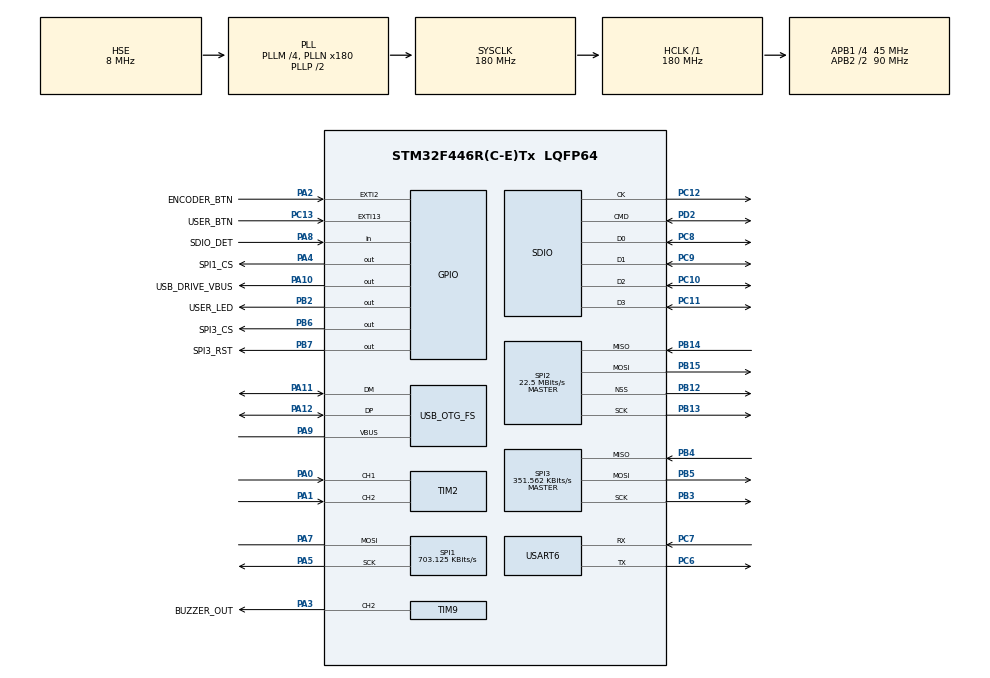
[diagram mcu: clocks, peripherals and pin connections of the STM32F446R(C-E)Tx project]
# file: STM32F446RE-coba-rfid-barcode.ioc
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ADC1.Channel-0\#ChannelRegularConversion=ADC_CHANNEL_TEMPSENSOR
ADC1.NbrOfConversionFlag=1
ADC1.Rank-0\#ChannelRegularConversion=1
ADC1.SamplingTime-0\#ChannelRegularConversion=ADC_SAMPLETIME_3CYCLES
ADC1.master=1
Dma.Request0=SPI1_RX
Dma.Request1=SPI1_TX
Dma.SPI1_RX.0.Direction=DMA_PERIPH_TO_MEMORY
Dma.SPI1_RX.0.FIFOMode=DMA_FIFOMODE_DISABLE
Dma.SPI1_RX.0.Instance=DMA2_Stream0
Dma.SPI1_RX.0.MemDataAlignment=DMA_MDATAALIGN_BYTE
Dma.SPI1_RX.0.MemInc=DMA_MINC_ENABLE
Dma.SPI1_RX.0.Mode=DMA_NORMAL
Dma.SPI1_RX.0.PeriphDataAlignment=DMA_PDATAALIGN_BYTE
Dma.SPI1_RX.0.PeriphInc=DMA_PINC_DISABLE
Dma.SPI1_RX.0.Priority=DMA_PRIORITY_LOW
Dma.SPI1_TX.1.Direction=DMA_MEMORY_TO_PERIPH
Dma.SPI1_TX.1.FIFOMode=DMA_FIFOMODE_DISABLE
Dma.SPI1_TX.1.Instance=DMA2_Stream3
Dma.SPI1_TX.1.MemDataAlignment=DMA_MDATAALIGN_BYTE
Dma.SPI1_TX.1.MemInc=DMA_MINC_ENABLE
Dma.SPI1_TX.1.Mode=DMA_NORMAL
Dma.SPI1_TX.1.PeriphDataAlignment=DMA_PDATAALIGN_BYTE
Dma.SPI1_TX.1.PeriphInc=DMA_PINC_DISABLE
Dma.SPI1_TX.1.Priority=DMA_PRIORITY_LOW
FATFS.BSP.number=1
FATFS0.BSP.STBoard=false
FATFS0.BSP.api=Unknown
FATFS0.BSP.instance=PA8
FATFS0.BSP.ip=GPIO
FATFS0.BSP.mode=Input
FATFS0.BSP.name=Detect_SDIO
FATFS0.BSP.solution=PA8
Mcu.Family=STM32F4
Mcu.Name=STM32F446R(C-E)Tx
Mcu.Package=LQFP64
NVIC.DMA2_Stream0_IRQn=true\:0\:0\:false\:false\:true\:false\:true\:true
NVIC.DMA2_Stream3_IRQn=true\:0\:0\:false\:false\:true\:false\:true\:true
NVIC.OTG_FS_IRQn=true\:0\:0\:false\:false\:true\:false\:true\:true
NVIC.PriorityGroup=NVIC_PRIORITYGROUP_4
NVIC.SDIO_IRQn=true\:0\:0\:false\:false\:true\:true\:true\:true
NVIC.SPI1_IRQn=true\:0\:0\:false\:false\:true\:true\:true\:true
PA0-WKUP.Signal=S_TIM2_CH1_ETR
PA1.Signal=S_TIM2_CH2
PA10.GPIO_Label=USB_DRIVE_VBUS
PA10.Signal=GPIO_Output
PA11.Mode=Host_Only
PA11.Signal=USB_OTG_FS_DM
PA12.Mode=Host_Only
PA12.Signal=USB_OTG_FS_DP
PA2.GPIO_Label=ENCODER_BTN
PA2.GPIO_PuPd=GPIO_PULLDOWN
PA2.Signal=GPXTI2
PA3.GPIO_Label=BUZZER_OUT
PA3.Signal=S_TIM9_CH2
PA4.GPIO_Label=SPI1_CS
PA4.Signal=GPIO_Output
PA5.Mode=Simplex_Bidirectional_Master
PA5.Signal=SPI1_SCK
PA7.Mode=Simplex_Bidirectional_Master
PA7.Signal=SPI1_MOSI
PA8.GPIO_Label=SDIO_DET
PA8.GPIO_PuPd=GPIO_PULLUP
PA8.Signal=GPIO_Input
PA9.Mode=Activate_VBUS
PA9.Signal=USB_OTG_FS_VBUS
PB12.Mode=NSS_Signal_Hard_Output
PB12.Signal=SPI2_NSS
PB13.Mode=Full_Duplex_Master
PB13.Signal=SPI2_SCK
PB14.Mode=Full_Duplex_Master
PB14.Signal=SPI2_MISO
PB15.Mode=Full_Duplex_Master
PB15.Signal=SPI2_MOSI
PB2.GPIO_Label=USER_LED
PB2.Signal=GPIO_Output
PB3.Mode=Full_Duplex_Master
PB3.Signal=SPI3_SCK
PB4.Mode=Full_Duplex_Master
PB4.Signal=SPI3_MISO
PB5.Mode=Full_Duplex_Master
PB5.Signal=SPI3_MOSI
PB6.GPIO_Label=SPI3_CS
PB6.Signal=GPIO_Output
PB7.GPIO_Label=SPI3_RST
PB7.Signal=GPIO_Output
PC10.GPIO_PuPd=GPIO_PULLUP
PC10.Mode=SD_4_bits_Wide_bus
PC10.Signal=SDIO_D2
PC11.GPIO_PuPd=GPIO_PULLUP
PC11.Mode=SD_4_bits_Wide_bus
PC11.Signal=SDIO_D3
PC12.GPIO_PuPd=GPIO_PULLUP
PC12.Mode=SD_4_bits_Wide_bus
PC12.Signal=SDIO_CK
PC13.GPIO_Label=USER_BTN
PC13.GPIO_PuPd=GPIO_PULLDOWN
PC13.Signal=GPXTI13
PC14-OSC32_IN.Mode=LSE-External-Oscillator
PC14-OSC32_IN.Signal=RCC_OSC32_IN
PC15-OSC32_OUT.Mode=LSE-External-Oscillator
PC15-OSC32_OUT.Signal=RCC_OSC32_OUT
PC6.Mode=Asynchronous
PC6.Signal=USART6_TX
PC7.Mode=Asynchronous
PC7.Signal=USART6_RX
PC8.GPIO_PuPd=GPIO_PULLUP
PC8.Mode=SD_4_bits_Wide_bus
PC8.Signal=SDIO_D0
PC9.GPIO_PuPd=GPIO_PULLUP
PC9.Mode=SD_4_bits_Wide_bus
PC9.Signal=SDIO_D1
PD2.GPIO_PuPd=GPIO_PULLUP
PD2.Mode=SD_4_bits_Wide_bus
PD2.Signal=SDIO_CMD
PH0-OSC_IN.Mode=HSE-External-Oscillator
PH0-OSC_IN.Signal=RCC_OSC_IN
PH1-OSC_OUT.Mode=HSE-External-Oscillator
PH1-OSC_OUT.Signal=RCC_OSC_OUT
ProjectManager.HeapSize=0x200
ProjectManager.StackSize=0x400
ProjectManager.TargetToolchain=STM32CubeIDE
RCC.AHBFreq_Value=180000000
RCC.APB1CLKDivider=RCC_HCLK_DIV4
RCC.APB1Freq_Value=45000000
RCC.APB1TimFreq_Value=90000000
RCC.APB2CLKDivider=RCC_HCLK_DIV2
RCC.APB2Freq_Value=90000000
RCC.APB2TimFreq_Value=180000000
RCC.CortexFreq_Value=180000000
RCC.HCLKFreq_Value=180000000
RCC.HSE_VALUE=8000000
RCC.PLLM=4
RCC.PLLN=180
RCC.PLLSAIM=4
RCC.PLLSAIN=96
RCC.PLLSAIP=RCC_PLLSAIP_DIV4
RCC.SYSCLKFreq_VALUE=180000000
RCC.SYSCLKSource=RCC_SYSCLKSOURCE_PLLCLK
RCC.USBCLockSelection=RCC_CLK48CLKSOURCE_PLLSAIP
RCC.USBFreq_Value=48000000
RCC.VCOOutputFreq_Value=360000000
SDIO.ClockDiv=8
SH.S_TIM2_CH1_ETR.0=TIM2_CH1,Encoder_Interface
SH.S_TIM2_CH2.0=TIM2_CH2,Encoder_Interface
SH.S_TIM9_CH2.0=TIM9_CH2,PWM Generation2 CH2
SPI1.BaudRatePrescaler=SPI_BAUDRATEPRESCALER_128
SPI1.CLKPhase=SPI_PHASE_2EDGE
SPI1.CLKPolarity=SPI_POLARITY_HIGH
SPI1.CalculateBaudRate=703.125 KBits/s
SPI1.Direction=SPI_DIRECTION_1LINE
SPI1.FirstBit=SPI_FIRSTBIT_LSB
SPI1.Mode=SPI_MODE_MASTER
SPI1.VirtualType=VM_MASTER
SPI2.BaudRatePrescaler=SPI_BAUDRATEPRESCALER_2
SPI2.CalculateBaudRate=22.5 MBits/s
SPI2.Direction=SPI_DIRECTION_2LINES
SPI2.Mode=SPI_MODE_MASTER
SPI2.VirtualNSS=VM_NSSHARD
SPI2.VirtualType=VM_MASTER
SPI3.BaudRatePrescaler=SPI_BAUDRATEPRESCALER_128
SPI3.CalculateBaudRate=351.562 KBits/s
SPI3.Direction=SPI_DIRECTION_2LINES
SPI3.Mode=SPI_MODE_MASTER
SPI3.VirtualType=VM_MASTER
TIM5.Channel-PWM\ Generation1\ CH1=TIM_CHANNEL_1
TIM9.Channel-PWM\ Generation2\ CH2=TIM_CHANNEL_2
USART6.VirtualMode=VM_ASYNC
USB_HOST.BSP.number=1
USB_HOST.USBH_HandleTypeDef-HID_FS=hUsbHostFS
USB_HOST.VirtualModeFS=Hid
USB_HOST0.BSP.STBoard=false
USB_HOST0.BSP.api=Unknown
USB_HOST0.BSP.condition=SW_VBUS_DRIVE_HID_FS \= false
USB_HOST0.BSP.instance=PA10
USB_HOST0.BSP.ip=GPIO
USB_HOST0.BSP.mode=Output
USB_HOST0.BSP.name=Drive_VBUS_FS
USB_HOST0.BSP.solution=PA10
USB_OTG_FS.VirtualMode=Host_Only
USB_OTG_FS.phy_itface=HCD_PHY_EMBEDDED
VP_ADC1_TempSens_Input.Mode=IN-TempSens
VP_FATFS_VS_SDIO.Mode=SDIO
VP_RTC_VS_RTC_Activate.Mode=RTC_Enabled
VP_RTC_VS_RTC_Calendar.Mode=RTC_Calendar
VP_TIM5_VS_ClockSourceINT.Mode=Internal
VP_TIM9_VS_ClockSourceINT.Mode=Internal
VP_USB_HOST_VS_USB_HOST_HID_FS.Mode=HID_FS
board=custom

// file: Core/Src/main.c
/* USER CODE BEGIN Header */
/**
 ******************************************************************************
 * @file           : main.c
 * @brief          : Main program body
 ******************************************************************************
 * @attention
 *
 * Copyright (c) 2026 STMicroelectronics.
 * All rights reserved.
 *
 * This software is licensed under terms that can be found in the LICENSE file
 * in the root directory of this software component.
 * If no LICENSE file comes with this software, it is provided AS-IS.
 *
 ******************************************************************************
 */
/* USER CODE END Header */
#include "main.h"
#include "fatfs.h"
#include "usb_host.h"

/* USER CODE BEGIN Includes */
#include "rc522.h"
#include "tm1638.h"
#include <stdbool.h>
#include <stdio.h>
#include <string.h>

/* USER CODE END Includes */

ADC_HandleTypeDef hadc1;

RTC_HandleTypeDef hrtc;

SD_HandleTypeDef hsd;

SPI_HandleTypeDef hspi1;
SPI_HandleTypeDef hspi2;
SPI_HandleTypeDef hspi3;
DMA_HandleTypeDef hdma_spi1_rx;
DMA_HandleTypeDef hdma_spi1_tx;

TIM_HandleTypeDef htim2;
TIM_HandleTypeDef htim5;
TIM_HandleTypeDef htim9;

UART_HandleTypeDef huart6;

/* USER CODE BEGIN PV */
uint8_t rfid_id[5];
bool sd_detect_state = 0;
uint32_t rfid_read_count = 0;
uint32_t sd_write_success_count = 0;
uint32_t sd_write_error_count = 0;
FRESULT sd_fresult;
/* USER CODE END PV */

void SystemClock_Config(void);
void PeriphCommonClock_Config(void);
static void MX_GPIO_Init(void);
static void MX_DMA_Init(void);
static void MX_SPI1_Init(void);
static void MX_SPI2_Init(void);
static void MX_SPI3_Init(void);
static void MX_SDIO_SD_Init(void);
static void MX_TIM2_Init(void);
static void MX_ADC1_Init(void);
static void MX_RTC_Init(void);
static void MX_TIM5_Init(void);
static void MX_TIM9_Init(void);
static void MX_USART6_UART_Init(void);
void MX_USB_HOST_Process(void);

int main(void)
{

  /* MCU Configuration--------------------------------------------------------*/

  /* Reset of all peripherals, Initializes the Flash interface and the Systick. */
  HAL_Init();

  /* Configure the system clock */
  SystemClock_Config();

  /* Configure the peripherals common clocks */
  PeriphCommonClock_Config();

  /* Initialize all configured peripherals */
  MX_GPIO_Init();
  MX_DMA_Init();
  MX_SPI1_Init();
  MX_SPI2_Init();
  MX_SPI3_Init();
  MX_SDIO_SD_Init();
  MX_TIM2_Init();
  MX_FATFS_Init();
  MX_USB_HOST_Init();
  MX_ADC1_Init();
  MX_RTC_Init();
  MX_TIM5_Init();
  MX_TIM9_Init();
  MX_USART6_UART_Init();
  /* USER CODE BEGIN 2 */
  RC522_Init(&hspi3);
  TM1638_Init();
  /* USER CODE END 2 */

  /* Infinite loop */
  while (1) {
    MX_USB_HOST_Process();

    /* USER CODE BEGIN 3 */

    // Baca tombol TM1638
    uint8_t btn = TM1638_ReadButtons();
    if (btn == 1) { // Tombol 1 ditekan
        TM1638_Clear(); // Bersihkan layar
    }

    sd_detect_state = HAL_GPIO_ReadPin(SD_DETECT_GPIO_PORT, SD_DETECT_PIN);

    if (RC522_Check(rfid_id) == MI_OK) {
      rfid_read_count++;

      // Tampilkan UID ke 7-segment TM1638 menggunakan string
      char uid_str[9];
      snprintf(uid_str, sizeof(uid_str), "%02X%02X%02X%02X", rfid_id[0], rfid_id[1], rfid_id[2], rfid_id[3]);
      TM1638_DisplayString(uid_str);

      // Dapatkan waktu dan tanggal saat ini dari RTC
      RTC_TimeTypeDef sTime = {0};
      RTC_DateTypeDef sDate = {0};
      HAL_RTC_GetTime(&hrtc, &sTime, RTC_FORMAT_BIN);
      HAL_RTC_GetDate(&hrtc, &sDate, RTC_FORMAT_BIN);

      // Format data menjadi string CSV: "Tanggal Waktu,UID"
      char csv_buffer[100];
      int len = snprintf(
          csv_buffer, sizeof(csv_buffer),
          "20%02d-%02d-%02d %02d:%02d:%02d,%02X%02X%02X%02X%02X\n", sDate.Year,
          sDate.Month, sDate.Date, sTime.Hours, sTime.Minutes, sTime.Seconds,
          rfid_id[0], rfid_id[1], rfid_id[2], rfid_id[3], rfid_id[4]);

      // Proses penulisan ke SD Card
      sd_fresult = f_mount(&SDFatFS, SDPath, 1);
      if (sd_fresult == FR_OK) {
        // Buka file CSV dengan mode append
        sd_fresult = f_open(&SDFile, "rfid_log.csv", FA_OPEN_APPEND | FA_WRITE);
        if (sd_fresult == FR_OK) {
          UINT byteswritten;
          // Tulis header jika ini merupakan penulisan pertama/file baru
          if (f_size(&SDFile) == 0) {
            const char *header = "Datetime,UID\n";
            f_write(&SDFile, header, strlen(header), &byteswritten);
          }

          sd_fresult = f_write(&SDFile, csv_buffer, len, &byteswritten);
          if (sd_fresult == FR_OK && byteswritten == len) {
            sd_write_success_count++;
          } else {
            sd_write_error_count++;
          }
          f_close(&SDFile);
        } else {
          sd_write_error_count++;
        }
        f_mount(NULL, SDPath, 0); // Unmount agar data aman
      } else {
        sd_write_error_count++;
      }

      HAL_Delay(1000); // delay to avoid multiple reads
    }
  }
  /* USER CODE END 3 */
}

void SystemClock_Config(void)
{
  RCC_OscInitTypeDef RCC_OscInitStruct = {0};
  RCC_ClkInitTypeDef RCC_ClkInitStruct = {0};

  /** Configure the main internal regulator output voltage
  */
  __HAL_RCC_PWR_CLK_ENABLE();
  __HAL_PWR_VOLTAGESCALING_CONFIG(PWR_REGULATOR_VOLTAGE_SCALE1);

  /** Initializes the RCC Oscillators according to the specified parameters
  * in the RCC_OscInitTypeDef structure.
  */
  RCC_OscInitStruct.OscillatorType = RCC_OSCILLATORTYPE_LSI|RCC_OSCILLATORTYPE_HSE;
  RCC_OscInitStruct.HSEState = RCC_HSE_ON;
  RCC_OscInitStruct.LSEState = RCC_LSE_ON;
  RCC_OscInitStruct.LSIState = RCC_LSI_ON;
  RCC_OscInitStruct.PLL.PLLState = RCC_PLL_ON;
  RCC_OscInitStruct.PLL.PLLSource = RCC_PLLSOURCE_HSE;
  RCC_OscInitStruct.PLL.PLLM = 4;
  RCC_OscInitStruct.PLL.PLLN = 180;
  RCC_OscInitStruct.PLL.PLLP = RCC_PLLP_DIV2;
  RCC_OscInitStruct.PLL.PLLQ = 2;
  RCC_OscInitStruct.PLL.PLLR = 2;
  if (HAL_RCC_OscConfig(&RCC_OscInitStruct) != HAL_OK)
  {
    Error_Handler();
  }

  /** Activate the Over-Drive mode
  */
  if (HAL_PWREx_EnableOverDrive() != HAL_OK)
  {
    Error_Handler();
  }

  /** Initializes the CPU, AHB and APB buses clocks
  */
  RCC_ClkInitStruct.ClockType = RCC_CLOCKTYPE_HCLK|RCC_CLOCKTYPE_SYSCLK
                              |RCC_CLOCKTYPE_PCLK1|RCC_CLOCKTYPE_PCLK2;
  RCC_ClkInitStruct.SYSCLKSource = RCC_SYSCLKSOURCE_PLLCLK;
  RCC_ClkInitStruct.AHBCLKDivider = RCC_SYSCLK_DIV1;
  RCC_ClkInitStruct.APB1CLKDivider = RCC_HCLK_DIV4;
  RCC_ClkInitStruct.APB2CLKDivider = RCC_HCLK_DIV2;

  if (HAL_RCC_ClockConfig(&RCC_ClkInitStruct, FLASH_LATENCY_5) != HAL_OK)
  {
    Error_Handler();
  }
}

void PeriphCommonClock_Config(void)
{
  RCC_PeriphCLKInitTypeDef PeriphClkInitStruct = {0};

  /** Initializes the peripherals clock
  */
  PeriphClkInitStruct.PeriphClockSelection = RCC_PERIPHCLK_SDIO|RCC_PERIPHCLK_CLK48;
  PeriphClkInitStruct.PLLSAI.PLLSAIM = 4;
  PeriphClkInitStruct.PLLSAI.PLLSAIN = 96;
  PeriphClkInitStruct.PLLSAI.PLLSAIQ = 2;
  PeriphClkInitStruct.PLLSAI.PLLSAIP = RCC_PLLSAIP_DIV4;
  PeriphClkInitStruct.PLLSAIDivQ = 1;
  PeriphClkInitStruct.Clk48ClockSelection = RCC_CLK48CLKSOURCE_PLLSAIP;
  PeriphClkInitStruct.SdioClockSelection = RCC_SDIOCLKSOURCE_CLK48;
  if (HAL_RCCEx_PeriphCLKConfig(&PeriphClkInitStruct) != HAL_OK)
  {
    Error_Handler();
  }
}

static void MX_ADC1_Init(void)
{

  ADC_ChannelConfTypeDef sConfig = {0};

  /** Configure the global features of the ADC (Clock, Resolution, Data Alignment and number of conversion)
  */
  hadc1.Instance = ADC1;
  hadc1.Init.ClockPrescaler = ADC_CLOCK_SYNC_PCLK_DIV4;
  hadc1.Init.Resolution = ADC_RESOLUTION_12B;
  hadc1.Init.ScanConvMode = DISABLE;
  hadc1.Init.ContinuousConvMode = DISABLE;
  hadc1.Init.DiscontinuousConvMode = DISABLE;
  hadc1.Init.ExternalTrigConvEdge = ADC_EXTERNALTRIGCONVEDGE_NONE;
  hadc1.Init.ExternalTrigConv = ADC_SOFTWARE_START;
  hadc1.Init.DataAlign = ADC_DATAALIGN_RIGHT;
  hadc1.Init.NbrOfConversion = 1;
  hadc1.Init.DMAContinuousRequests = DISABLE;
  hadc1.Init.EOCSelection = ADC_EOC_SINGLE_CONV;
  if (HAL_ADC_Init(&hadc1) != HAL_OK)
  {
    Error_Handler();
  }

  /** Configure for the selected ADC regular channel its corresponding rank in the sequencer and its sample time.
  */
  sConfig.Channel = ADC_CHANNEL_TEMPSENSOR;
  sConfig.Rank = 1;
  sConfig.SamplingTime = ADC_SAMPLETIME_3CYCLES;
  if (HAL_ADC_ConfigChannel(&hadc1, &sConfig) != HAL_OK)
  {
    Error_Handler();
  }

}

static void MX_RTC_Init(void)
{

  RTC_TimeTypeDef sTime = {0};
  RTC_DateTypeDef sDate = {0};

  /** Initialize RTC Only
  */
  hrtc.Instance = RTC;
  hrtc.Init.HourFormat = RTC_HOURFORMAT_24;
  hrtc.Init.AsynchPrediv = 127;
  hrtc.Init.SynchPrediv = 255;
  hrtc.Init.OutPut = RTC_OUTPUT_DISABLE;
  hrtc.Init.OutPutPolarity = RTC_OUTPUT_POLARITY_HIGH;
  hrtc.Init.OutPutType = RTC_OUTPUT_TYPE_OPENDRAIN;
  if (HAL_RTC_Init(&hrtc) != HAL_OK)
  {
    Error_Handler();
  }

  /* USER CODE BEGIN Check_RTC_BKUP */
  if (HAL_RTCEx_BKUPRead(&hrtc, RTC_BKP_DR1) == 0x32F2) {
    return; // Waktu sudah pernah di-set, pertahankan waktu RTC yang sedang
            // berjalan
  }

  // Parsing __TIME__ "HH:MM:SS" (Waktu Compile)
  char time_str[] = __TIME__;
  sTime.Hours = (time_str[0] - '0') * 10 + (time_str[1] - '0');
  sTime.Minutes = (time_str[3] - '0') * 10 + (time_str[4] - '0');
  sTime.Seconds = (time_str[6] - '0') * 10 + (time_str[7] - '0');
  sTime.DayLightSaving = RTC_DAYLIGHTSAVING_NONE;
  sTime.StoreOperation = RTC_STOREOPERATION_RESET;

  if (HAL_RTC_SetTime(&hrtc, &sTime, RTC_FORMAT_BIN) != HAL_OK) {
    Error_Handler();
  }

  // Parsing __DATE__ "Mmm dd yyyy" (Tanggal Compile)
  char date_str[] = __DATE__;
  uint8_t month = 1;
  if (strncmp(date_str, "Jan", 3) == 0)
    month = RTC_MONTH_JANUARY;
  else if (strncmp(date_str, "Feb", 3) == 0)
    month = RTC_MONTH_FEBRUARY;
  else if (strncmp(date_str, "Mar", 3) == 0)
    month = RTC_MONTH_MARCH;
  else if (strncmp(date_str, "Apr", 3) == 0)
    month = RTC_MONTH_APRIL;
  else if (strncmp(date_str, "May", 3) == 0)
    month = RTC_MONTH_MAY;
  else if (strncmp(date_str, "Jun", 3) == 0)
    month = RTC_MONTH_JUNE;
  else if (strncmp(date_str, "Jul", 3) == 0)
    month = RTC_MONTH_JULY;
  else if (strncmp(date_str, "Aug", 3) == 0)
    month = RTC_MONTH_AUGUST;
  else if (strncmp(date_str, "Sep", 3) == 0)
    month = RTC_MONTH_SEPTEMBER;
  else if (strncmp(date_str, "Oct", 3) == 0)
    month = RTC_MONTH_OCTOBER;
  else if (strncmp(date_str, "Nov", 3) == 0)
    month = RTC_MONTH_NOVEMBER;
  else if (strncmp(date_str, "Dec", 3) == 0)
    month = RTC_MONTH_DECEMBER;

  uint8_t day = 0;
  if (date_str[4] == ' ') {
    day = date_str[5] - '0';
  } else {
    day = (date_str[4] - '0') * 10 + (date_str[5] - '0');
  }

  // Tahun __DATE__ adalah 4 digit (misal 2026), kita ambil 2 digit terakhir
  // saja (26)
  uint8_t year = (date_str[9] - '0') * 10 + (date_str[10] - '0');

  sDate.WeekDay = RTC_WEEKDAY_MONDAY;
  sDate.Month = month;
  sDate.Date = day;
  sDate.Year = year;

  if (HAL_RTC_SetDate(&hrtc, &sDate, RTC_FORMAT_BIN) != HAL_OK) {
    Error_Handler();
  }

  // Tulis ke backup register untuk menandakan bahwa RTC sudah pernah diset
  HAL_RTCEx_BKUPWrite(&hrtc, RTC_BKP_DR1, 0x32F2);

  // Return di sini agar kode bawaan CubeMX di bawah ini (yang meng-reset ke
  // 00:00:00) tidak dieksekusi
  return;
  /* USER CODE END Check_RTC_BKUP */

  /** Initialize RTC and set the Time and Date
  */
  sTime.Hours = 0x0;
  sTime.Minutes = 0x0;
  sTime.Seconds = 0x0;
  sTime.DayLightSaving = RTC_DAYLIGHTSAVING_NONE;
  sTime.StoreOperation = RTC_STOREOPERATION_RESET;
  if (HAL_RTC_SetTime(&hrtc, &sTime, RTC_FORMAT_BCD) != HAL_OK)
  {
    Error_Handler();
  }
  sDate.WeekDay = RTC_WEEKDAY_MONDAY;
  sDate.Month = RTC_MONTH_JANUARY;
  sDate.Date = 0x1;
  sDate.Year = 0x0;

  if (HAL_RTC_SetDate(&hrtc, &sDate, RTC_FORMAT_BCD) != HAL_OK)
  {
    Error_Handler();
  }

}

static void MX_SDIO_SD_Init(void)
{

  hsd.Instance = SDIO;
  hsd.Init.ClockEdge = SDIO_CLOCK_EDGE_RISING;
  hsd.Init.ClockBypass = SDIO_CLOCK_BYPASS_DISABLE;
  hsd.Init.ClockPowerSave = SDIO_CLOCK_POWER_SAVE_DISABLE;
  hsd.Init.BusWide = SDIO_BUS_WIDE_1B;
  hsd.Init.HardwareFlowControl = SDIO_HARDWARE_FLOW_CONTROL_DISABLE;
  hsd.Init.ClockDiv = 8;

}

static void MX_SPI1_Init(void)
{

  /* SPI1 parameter configuration*/
  hspi1.Instance = SPI1;
  hspi1.Init.Mode = SPI_MODE_MASTER;
  hspi1.Init.Direction = SPI_DIRECTION_1LINE;
  hspi1.Init.DataSize = SPI_DATASIZE_8BIT;
  hspi1.Init.CLKPolarity = SPI_POLARITY_HIGH;
  hspi1.Init.CLKPhase = SPI_PHASE_2EDGE;
  hspi1.Init.NSS = SPI_NSS_SOFT;
  hspi1.Init.BaudRatePrescaler = SPI_BAUDRATEPRESCALER_128;
  hspi1.Init.FirstBit = SPI_FIRSTBIT_LSB;
  hspi1.Init.TIMode = SPI_TIMODE_DISABLE;
  hspi1.Init.CRCCalculation = SPI_CRCCALCULATION_DISABLE;
  hspi1.Init.CRCPolynomial = 10;
  if (HAL_SPI_Init(&hspi1) != HAL_OK)
  {
    Error_Handler();
  }

}

static void MX_SPI2_Init(void)
{

  /* SPI2 parameter configuration*/
  hspi2.Instance = SPI2;
  hspi2.Init.Mode = SPI_MODE_MASTER;
  hspi2.Init.Direction = SPI_DIRECTION_2LINES;
  hspi2.Init.DataSize = SPI_DATASIZE_8BIT;
  hspi2.Init.CLKPolarity = SPI_POLARITY_LOW;
  hspi2.Init.CLKPhase = SPI_PHASE_1EDGE;
  hspi2.Init.NSS = SPI_NSS_HARD_OUTPUT;
  hspi2.Init.BaudRatePrescaler = SPI_BAUDRATEPRESCALER_2;
  hspi2.Init.FirstBit = SPI_FIRSTBIT_MSB;
  hspi2.Init.TIMode = SPI_TIMODE_DISABLE;
  hspi2.Init.CRCCalculation = SPI_CRCCALCULATION_DISABLE;
  hspi2.Init.CRCPolynomial = 10;
  if (HAL_SPI_Init(&hspi2) != HAL_OK)
  {
    Error_Handler();
  }

}

static void MX_SPI3_Init(void)
{

  /* SPI3 parameter configuration*/
  hspi3.Instance = SPI3;
  hspi3.Init.Mode = SPI_MODE_MASTER;
  hspi3.Init.Direction = SPI_DIRECTION_2LINES;
  hspi3.Init.DataSize = SPI_DATASIZE_8BIT;
  hspi3.Init.CLKPolarity = SPI_POLARITY_LOW;
  hspi3.Init.CLKPhase = SPI_PHASE_1EDGE;
  hspi3.Init.NSS = SPI_NSS_SOFT;
  hspi3.Init.BaudRatePrescaler = SPI_BAUDRATEPRESCALER_128;
  hspi3.Init.FirstBit = SPI_FIRSTBIT_MSB;
  hspi3.Init.TIMode = SPI_TIMODE_DISABLE;
  hspi3.Init.CRCCalculation = SPI_CRCCALCULATION_DISABLE;
  hspi3.Init.CRCPolynomial = 10;
  if (HAL_SPI_Init(&hspi3) != HAL_OK)
  {
    Error_Handler();
  }

}

static void MX_TIM2_Init(void)
{

  TIM_Encoder_InitTypeDef sConfig = {0};
  TIM_MasterConfigTypeDef sMasterConfig = {0};

  htim2.Instance = TIM2;
  htim2.Init.Prescaler = 0;
  htim2.Init.CounterMode = TIM_COUNTERMODE_UP;
  htim2.Init.Period = 4294967295;
  htim2.Init.ClockDivision = TIM_CLOCKDIVISION_DIV1;
  htim2.Init.AutoReloadPreload = TIM_AUTORELOAD_PRELOAD_DISABLE;
  sConfig.EncoderMode = TIM_ENCODERMODE_TI1;
  sConfig.IC1Polarity = TIM_ICPOLARITY_RISING;
  sConfig.IC1Selection = TIM_ICSELECTION_DIRECTTI;
  sConfig.IC1Prescaler = TIM_ICPSC_DIV1;
  sConfig.IC1Filter = 0;
  sConfig.IC2Polarity = TIM_ICPOLARITY_RISING;
  sConfig.IC2Selection = TIM_ICSELECTION_DIRECTTI;
  sConfig.IC2Prescaler = TIM_ICPSC_DIV1;
  sConfig.IC2Filter = 0;
  if (HAL_TIM_Encoder_Init(&htim2, &sConfig) != HAL_OK)
  {
    Error_Handler();
  }
  sMasterConfig.MasterOutputTrigger = TIM_TRGO_RESET;
  sMasterConfig.MasterSlaveMode = TIM_MASTERSLAVEMODE_DISABLE;
  if (HAL_TIMEx_MasterConfigSynchronization(&htim2, &sMasterConfig) != HAL_OK)
  {
    Error_Handler();
  }

}

static void MX_TIM5_Init(void)
{

  TIM_ClockConfigTypeDef sClockSourceConfig = {0};
  TIM_MasterConfigTypeDef sMasterConfig = {0};

  htim5.Instance = TIM5;
  htim5.Init.Prescaler = 0;
  htim5.Init.CounterMode = TIM_COUNTERMODE_UP;
  htim5.Init.Period = 4294967295;
  htim5.Init.ClockDivision = TIM_CLOCKDIVISION_DIV1;
  htim5.Init.AutoReloadPreload = TIM_AUTORELOAD_PRELOAD_DISABLE;
  if (HAL_TIM_Base_Init(&htim5) != HAL_OK)
  {
    Error_Handler();
  }
  sClockSourceConfig.ClockSource = TIM_CLOCKSOURCE_INTERNAL;
  if (HAL_TIM_ConfigClockSource(&htim5, &sClockSourceConfig) != HAL_OK)
  {
    Error_Handler();
  }
  sMasterConfig.MasterOutputTrigger = TIM_TRGO_RESET;
  sMasterConfig.MasterSlaveMode = TIM_MASTERSLAVEMODE_DISABLE;
  if (HAL_TIMEx_MasterConfigSynchronization(&htim5, &sMasterConfig) != HAL_OK)
  {
    Error_Handler();
  }

}

static void MX_TIM9_Init(void)
{

  TIM_ClockConfigTypeDef sClockSourceConfig = {0};
  TIM_OC_InitTypeDef sConfigOC = {0};

  htim9.Instance = TIM9;
  htim9.Init.Prescaler = 0;
  htim9.Init.CounterMode = TIM_COUNTERMODE_UP;
  htim9.Init.Period = 65535;
  htim9.Init.ClockDivision = TIM_CLOCKDIVISION_DIV1;
  htim9.Init.AutoReloadPreload = TIM_AUTORELOAD_PRELOAD_DISABLE;
  if (HAL_TIM_Base_Init(&htim9) != HAL_OK)
  {
    Error_Handler();
  }
  sClockSourceConfig.ClockSource = TIM_CLOCKSOURCE_INTERNAL;
  if (HAL_TIM_ConfigClockSource(&htim9, &sClockSourceConfig) != HAL_OK)
  {
    Error_Handler();
  }
  if (HAL_TIM_PWM_Init(&htim9) != HAL_OK)
  {
    Error_Handler();
  }
  sConfigOC.OCMode = TIM_OCMODE_PWM1;
  sConfigOC.Pulse = 0;
  sConfigOC.OCPolarity = TIM_OCPOLARITY_HIGH;
  sConfigOC.OCFastMode = TIM_OCFAST_DISABLE;
  if (HAL_TIM_PWM_ConfigChannel(&htim9, &sConfigOC, TIM_CHANNEL_2) != HAL_OK)
  {
    Error_Handler();
  }
  HAL_TIM_MspPostInit(&htim9);

}

static void MX_USART6_UART_Init(void)
{

  huart6.Instance = USART6;
  huart6.Init.BaudRate = 115200;
  huart6.Init.WordLength = UART_WORDLENGTH_8B;
  huart6.Init.StopBits = UART_STOPBITS_1;
  huart6.Init.Parity = UART_PARITY_NONE;
  huart6.Init.Mode = UART_MODE_TX_RX;
  huart6.Init.HwFlowCtl = UART_HWCONTROL_NONE;
  huart6.Init.OverSampling = UART_OVERSAMPLING_16;
  if (HAL_UART_Init(&huart6) != HAL_OK)
  {
    Error_Handler();
  }

}

static void MX_DMA_Init(void)
{

  /* DMA controller clock enable */
  __HAL_RCC_DMA2_CLK_ENABLE();

  /* DMA interrupt init */
  /* DMA2_Stream0_IRQn interrupt configuration */
  HAL_NVIC_SetPriority(DMA2_Stream0_IRQn, 0, 0);
  HAL_NVIC_EnableIRQ(DMA2_Stream0_IRQn);
  /* DMA2_Stream3_IRQn interrupt configuration */
  HAL_NVIC_SetPriority(DMA2_Stream3_IRQn, 0, 0);
  HAL_NVIC_EnableIRQ(DMA2_Stream3_IRQn);

}

static void MX_GPIO_Init(void)
{
  GPIO_InitTypeDef GPIO_InitStruct = {0};

  /* GPIO Ports Clock Enable */
  __HAL_RCC_GPIOC_CLK_ENABLE();
  __HAL_RCC_GPIOH_CLK_ENABLE();
  __HAL_RCC_GPIOA_CLK_ENABLE();
  __HAL_RCC_GPIOB_CLK_ENABLE();
  __HAL_RCC_GPIOD_CLK_ENABLE();

  /*Configure GPIO pin Output Level */
  HAL_GPIO_WritePin(GPIOA, SPI1_CS_Pin|USB_DRIVE_VBUS_Pin, GPIO_PIN_RESET);

  /*Configure GPIO pin Output Level */
  HAL_GPIO_WritePin(GPIOB, USER_LED_Pin|SPI3_CS_Pin|SPI3_RST_Pin, GPIO_PIN_RESET);

  /*Configure GPIO pin : USER_BTN_Pin */
  GPIO_InitStruct.Pin = USER_BTN_Pin;
  GPIO_InitStruct.Mode = GPIO_MODE_IT_RISING;
  GPIO_InitStruct.Pull = GPIO_PULLDOWN;
  HAL_GPIO_Init(USER_BTN_GPIO_Port, &GPIO_InitStruct);

  /*Configure GPIO pin : ENCODER_BTN_Pin */
  GPIO_InitStruct.Pin = ENCODER_BTN_Pin;
  GPIO_InitStruct.Mode = GPIO_MODE_IT_RISING;
  GPIO_InitStruct.Pull = GPIO_PULLDOWN;
  HAL_GPIO_Init(ENCODER_BTN_GPIO_Port, &GPIO_InitStruct);

  /*Configure GPIO pins : SPI1_CS_Pin USB_DRIVE_VBUS_Pin */
  GPIO_InitStruct.Pin = SPI1_CS_Pin|USB_DRIVE_VBUS_Pin;
  GPIO_InitStruct.Mode = GPIO_MODE_OUTPUT_PP;
  GPIO_InitStruct.Pull = GPIO_NOPULL;
  GPIO_InitStruct.Speed = GPIO_SPEED_FREQ_LOW;
  HAL_GPIO_Init(GPIOA, &GPIO_InitStruct);

  /*Configure GPIO pins : USER_LED_Pin SPI3_CS_Pin SPI3_RST_Pin */
  GPIO_InitStruct.Pin = USER_LED_Pin|SPI3_CS_Pin|SPI3_RST_Pin;
  GPIO_InitStruct.Mode = GPIO_MODE_OUTPUT_PP;
  GPIO_InitStruct.Pull = GPIO_NOPULL;
  GPIO_InitStruct.Speed = GPIO_SPEED_FREQ_LOW;
  HAL_GPIO_Init(GPIOB, &GPIO_InitStruct);

  /*Configure GPIO pin : SDIO_DET_Pin */
  GPIO_InitStruct.Pin = SDIO_DET_Pin;
  GPIO_InitStruct.Mode = GPIO_MODE_INPUT;
  GPIO_InitStruct.Pull = GPIO_PULLUP;
  HAL_GPIO_Init(SDIO_DET_GPIO_Port, &GPIO_InitStruct);

}

void Error_Handler(void)
{
  __disable_irq();
  while (1) {
  }
}
#ifdef USE_FULL_ASSERT
/**
  * @brief  Reports the name of the source file and the source line number
  *         where the assert_param error has occurred.
  * @param  file: pointer to the source file name
  * @param  line: assert_param error line source number
  * @retval None
  */
void assert_failed(uint8_t *file, uint32_t line)
{
  /* USER CODE BEGIN 6 */
  /* User can add his own implementation to report the file name and line
     number, ex: printf("Wrong parameters value: file %s on line %d\r\n", file,
     line) */
  /* USER CODE END 6 */
}
#endif /* USE_FULL_ASSERT */
